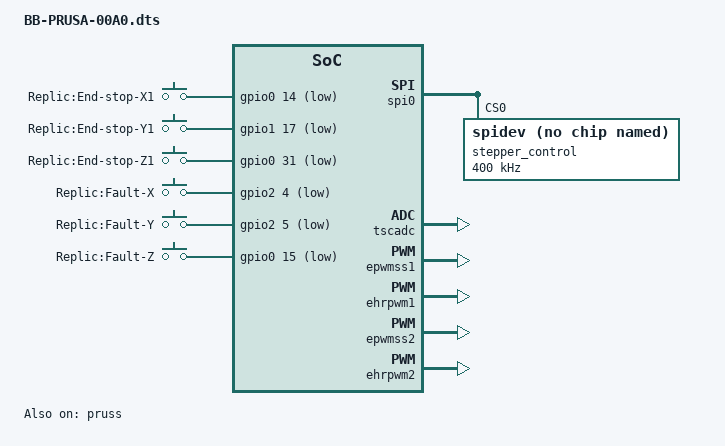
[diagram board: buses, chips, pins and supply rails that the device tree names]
/*
 * Copyright (C) 2013 Intelligent Agent AS	<elias@iagent.no>
 *
 * This program is free software; you can redistribute it and/or modify
 * it under the terms of the GNU General Public License version 2 as
 * published by the Free Software Foundation.
 */



/dts-v1/;
/plugin/;

/ {
    compatible = "ti,beaglebone", "ti,beaglebone-black";

    /* identification */
    part-number = "BB-PRUSA";
    version = "00A0";

    /* state the resources this cape uses */
    exclusive-use =
        /* the pin header P8 uses TODO: match used signals*/
        //"P8.8",  /* FAULT_EXT_2	*/
        "P8.9",  /* FAULT_Y 	*/
        "P8.10", /* FAULT_X 	*/
        "P8.12", /* STEP_Y      */
        "P8.13", /* STEP_Z      */
        "P8.14", /* DIR_Z       */
        "P8.15", /* DIR_E 	*/
        "P8.17", /* STEP_X      */
        "P8.18", /* FAULT_E	*/
        "P8.19", /* DIR_Y       */
        "P8.26", /* DIR_X       */
        
        /* the pin header P9 uses */
        "P9.12", /* STEP_E 	*/
        "P9.13", /* END_STOP_Z1	*/
        "P9.17", // SPI0_CS0
        "P9.18", // SPI0_D1 MISO
        "P9.21", // SPI0_D0 MOSI
        "P9.22", // SPI0_CLK
        "P9.23", /* END_STOP_Y1 */
        "P9.24", /* FAULT_Z     */
        "P9.25", /* END_STOP_X1	*/
        "P9.33", /* AIN4        */
        "P9.35", /* AIN6        */
        "P9.37", /* AIN2        */
        "P9.41", /* ENABLE_PWM  */
        "P9.42"; // Z-STEP

    fragment@0 {
        target = <&am33xx_pinmux>;
        __overlay__ {
            spi0_pins: spi0_pins {
        	pinctrl-single,pins = <
        	        //all set to input due to recomendation at TI forum
            		0x150 0x30  // (A17) spi0_sclk.spi0_sclk
            		0x154 0x30  // (B17) spi0_d0.spi0_d0 MOSI
            		0x158 0x30  // (B16) spi0_d1.spi0_d1 MISO
            		0x15c 0x30  // (A16) spi0_cs0.spi0_cs0
            		//spi0_cs1 used by mmc0_cd 
            		//0x160 ( PIN_OUTPUT | MUX_MODE0 ) // (C15) spi0_cs1.spi0_cs1
        	>;
    	    };					
            pruicss_stepper_pins: pinmux_pruicss_stepper_pins{
                pinctrl-single,pins = <         
                    0x190 0x07  // X-STEP   P9_31   GPIO3_14
                    0x194 0x07  // X-DIR    P9_29   GPIO3_15

                    0x198 0x07  // Y-STEP   P9_30   GPIO3_16
                    0x19c 0x07  // Y-DIR    P9_28   GPIO3_17

                    0x1a0 0x07  // Z-STEP   P9_42   GPIO3_18
                    0x1a4 0x07  // Z-DIR    P9_27   GPIO3_19

                    0x030 0x07  // E0-STEP  P8_12   GPIO1_12
                    0x034 0x07  // E0-DIR   P8_11   GPIO1_13   
                >;
            };		

            stepper_fault_pins: pinmux_stepper_fault_pins{
                pinctrl-single,pins = <
                    0x094 0x37 // P8_8  = FAULT H = GPIO2_3
                    0x09C 0x37 // P8_9  = FAYLT Y = GPIO2_5
                    0x098 0x37 // P8_10 = FAULT X = GPIO2_4
                    //0x08C 0x37 // P8_18 = FAULT E = GPIO2_1
                >;
            };

            end_stop_pins: pinmux_end_stop_pins{
                pinctrl-single,pins = <
                    0x180 0x37 // P9_26 = End stop X1  = GPIO0_14
                    //0x070 0x37 // P9_11 = End stop X2  = GPIO0_30
                    
                    0x044 0x37 // P9_23 = End stop Y1  = GPIO1_17
                    //0x034 0x37 // P8_11 = End stop Y2  = GPIO1_13
                    
                    0x074 0x37 // P9_13 = End stop Z1  = GPIO0_31
                    //0x038 0x37 // P8_16 = End stop Z2  = GPIO1_14   
                >;
            };
            //dallas_w1_pins: pinmux_dallas_w1_pins {
            //  pinctrl-single,pins = <
            //      0x150 0x37	// Dallas 1W
            //  >;
            //};

            //clkout2_pin: pinmux_clkout2_pin {
            //  pinctrl-single,pins = <
            //      0x1b4 0x37	/* xdma_event_intr1.clkout2 */
            //	>;
            //};
            
            ehrpwm1_pins: ehrpwm1_pins_default {
                pinctrl-single,pins = <
                    0x48 0x06 /* (U14) ( PIN_OUTPUT | MUX_MODE6 )gpmc_a2.ehrpwm1A P9_14 = HEAT_0 = GPIO1_18 */
                    0x4c 0x06 /* (T14) ( PIN_OUTPUT | MUX_MODE6 )gpmc_a3.ehrpwm1B P9_16 = BED-HEAT = GPIO1_19 */
                >;
            };
            
            ehrpwm2_pins: ehrpwm2_pins_default {
                pinctrl-single,pins = <
                    0x20 0x04 /* (U10) ( PIN_OUTPUT | MUX_MODE4 )gpmc_ad8.ehrpwm2A */
                    0x24 0x04 /* (T10) ( PIN_OUTPUT | MUX_MODE4 )gpmc_ad9.ehrpwm2B */
                >;
            };
            
            stepper_enable_pins: pinmux_stepper_enable_pins {
                pinctrl-single,pins = <         
                    0x040 0x07  // P9_15      = DRV_EN       = GPIO1_16
                    0x164 0x2F  // P9_42A   avoid conflict  GPIO0_7
                >;
            };

            
        };
    };

    fragment@1 {
        target = <&spi0>;
        __overlay__ {
            /*
            #address-cells 	= <1>;
            #size-cells 	= <0>;
            status		= "okay";
            pinctrl-names	= "default";
            pinctrl-0		= <&spi0_pins>;	
            cs-gpios 		= <&gpio0 5 0>;

            stepper_control{
                #address-cells 	  = <1>;
                #size-cells 	  = <0>;
                compatible 	  = "spidev";
                reg 		  = <1>;
                spi-max-frequency = <16000000>;
            };
            */
            #address-cells  = <1>;
            #size-cells     = <0>;
            status = "okay";
            pinctrl-names = "default";
            pinctrl-0 = <&spi0_pins>;
            ti,pindir-d0-out-d1-in;

            stepper_control{
                #address-cells    = <1>;
                #size-cells       = <0>;
                compatible    = "spidev";
                reg           = <0>;
                // SPI mode 3
                spi-cpol;
                spi-cpha;
                spi-max-frequency = <400000>;
            };
        };
    };

    fragment@2{
        target = <&pruss>;
        __overlay__{
            status = "okay";
            pinctrl-names = "default";
            pinctrl-0 	  = <&pruicss_stepper_pins>;

            stepper_x{
                pin-names 	= "Redeem:X-STEP", "Redeem:X-DIR";		
                gpios 		= <&gpio3 14 0 &gpio3 15 0>; 
            };
            stepper_y{
                pin-names 	= "Redeem:Y-STEP", "Redeem:Y-DIR";		
                gpios 		= <&gpio3 16 0 &gpio3 17 0>; 
            };
            stepper_z{
                pin-names 	= "Redeem:Z-STEP", "Replic:Z-DIR";		
                gpios       = <&gpio3 18 0 &gpio3 19 0>; 
            };
            stepper_ext_1{
                pin-names 	= "Redeem:E0-STEP", "Redeem:E0-DIR";		
                gpios 		= <&gpio1 12 0 &gpio1 13 0>; 
            };                  
            /*
            stepper_ext_2{
                pin-names 	= "Replic:pru-step_ext_2", "Replic:pru-dir_ext_2";		
                gpios 		= <&gpio1 13 0 &gpio1 14 0>; 
            };
            */
        };
    };

    fragment@3 {
        target = <&ocp>;
        __overlay__ {			
            #address-cells = <1>;
            #size-cells = <1>;							

            gpio_keys {
                compatible = "gpio-keys";
                pinctrl-names = "default";
                pinctrl-0 = <&end_stop_pins>;
                pinctrl-1 = <&stepper_fault_pins>;
                #address-cells = <1>;
                #size-cells = <0>;

                switch_x1 {
                    label               = "Replic:End-stop-X1";
                    debounce_interval   = <50>;
                    linux,code          = <112>;
                    //gpios               = <&gpio3 21 0x5>;
                    gpios               = <&gpio0 14 0x5>;
                    gpio-key,wakeup;
                };				
                switch_y1 {
                    label               = "Replic:End-stop-Y1";
                    debounce_interval   = <50>;
                    linux,code          = <114>;
                    gpios               = <&gpio1 17 0x5>;
                    gpio-key,wakeup;
                };			
                switch_z1 {
                    label               = "Replic:End-stop-Z1";
                    debounce_interval   = <50>;
                    linux,code          = <116>;
                    gpios               = <&gpio0 31 0x5>;
                    gpio-key,wakeup;
                };				
                
                fault_x {
                    label               = "Replic:Fault-X";
                    debounce_interval   = <50>;
                    linux,code          = <90>;
                    gpios               = <&gpio2 4 0x5>;
                    gpio-key,wakeup;	
                };
                fault_y {
                    label               = "Replic:Fault-Y";
                    debounce_interval   = <50>;
                    linux,code          = <91>;
                    gpios               = <&gpio2 5 0x5>;
                    gpio-key,wakeup;	
                };
                fault_z {
                    label               = "Replic:Fault-Z";
                    debounce_interval   = <50>;
                    linux,code          = <92>;
                    gpios               = <&gpio0 15 0x5>;
                    gpio-key,wakeup;	
                };
                /*
                fault_e {
                    label               = "Replic:Fault-E";
                    debounce_interval   = <50>;
                    linux,code          = <93>;
                    gpios               = <&gpio2 1 0x5>;
                    gpio-key,wakeup;	
                };
                
                fault_h {
                    label               = "Replic:Fault-H";
                    debounce_interval   = <50>;
                    linux,code          = <94>;
                    gpios               = <&gpio2 3 0x5>;
                    gpio-key,wakeup;	
                };
                */
            };
            //onewire {
            //   compatible      = "w1-gpio";
            //   pinctrl-names   = "default";
            //   pinctrl-0       = <&dallas_w1_pins>;
            //   status          = "okay";
            //   gpios           = <&gpio0 2 0>;
            //};

            //pwm_enable {
            //	compatible      = "bone-pinmux-helper";
            //  status 	        = "okay";
            //	pinctrl-names   = "default";
            //	pinctrl-0       = <&servo_pins>;
            //	/*pinctrl-0       = <&clkout2_pins>;*/
            //};
            steppers_enable {
                compatible      = "bone-pinmux-helper";
                status          = "okay";
                pinctrl-names   = "default";
                pinctrl-0       = <&stepper_enable_pins>;
            };
            steppers_pru {
                compatible      = "bone-pinmux-helper";
                status          = "okay";
                pinctrl-names   = "default";
                pinctrl-0       = <&pruicss_stepper_pins>;
            };
        };
    };

    fragment@4 {
        target = <&tscadc>;
        __overlay__ {			
            status = "okay";
            adc {
                ti,adc-channels = <2 4 6>;
                //channel 2 - THERM2 (heatbed)
                //channel 4 - THERM0 (extruder)
                //channel 6 - Z-THERM (pinda)
              
            };
        };
    };
    
    fragment@5 {
        target = <&epwmss1>;
        __overlay__ {
            status = "okay";
        };
    };
     
    fragment@6 {
        target = <&ehrpwm1>;
        __overlay__ {
            status = "okay";
            pinctrl-names = "default";
            pinctrl-0 = <&ehrpwm1_pins>;
        };
    };
    
    fragment@7 {
        target = <&epwmss2>;
        __overlay__ {
            status = "okay";
        };
    };

    fragment@8 {
        target = <&ehrpwm2>;
        __overlay__ {
            status = "okay";
            pinctrl-names = "default";
            pinctrl-0 = <&ehrpwm2_pins>;
        };
    };
    
};
